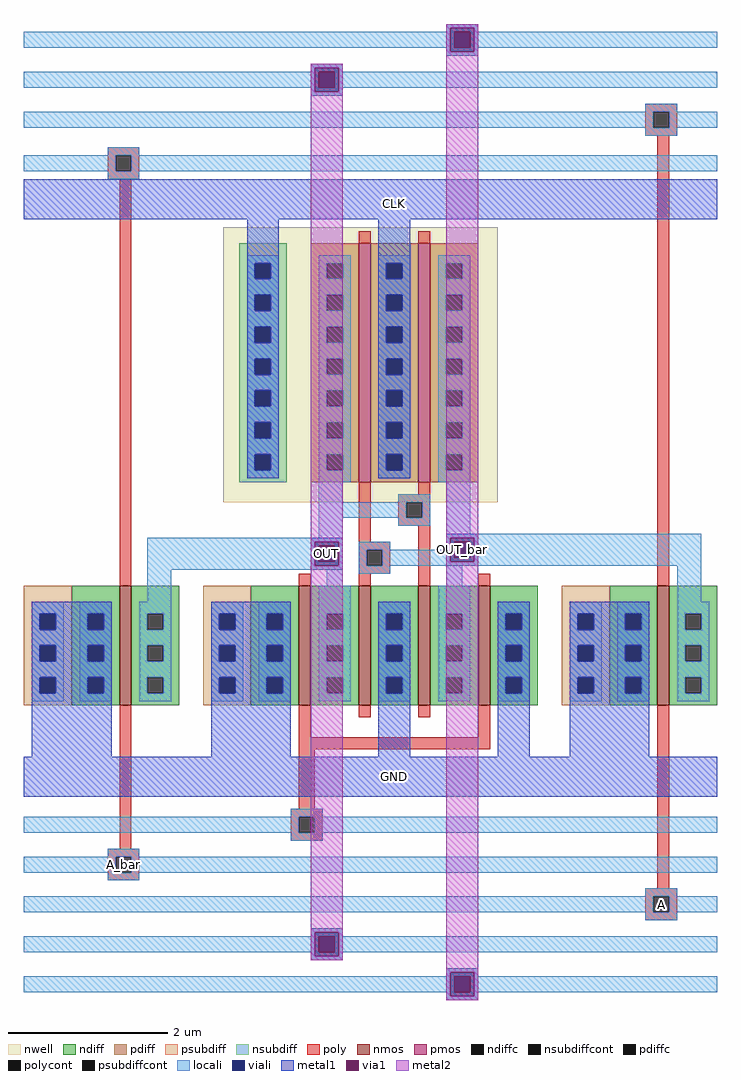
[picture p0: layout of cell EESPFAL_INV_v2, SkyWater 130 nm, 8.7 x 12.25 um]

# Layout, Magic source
magic
tech sky130A
<< nwell >>
rect -370 185 -25 530
<< nmos >>
rect -500 -70 -485 80
rect -275 -70 -260 80
rect -200 -70 -185 80
rect -125 -70 -110 80
rect -50 -70 -35 80
rect 175 -70 190 80
<< pmos >>
rect -200 210 -185 510
rect -125 210 -110 510
<< ndiff >>
rect -560 45 -500 80
rect -560 25 -540 45
rect -520 25 -500 45
rect -560 5 -500 25
rect -560 -15 -540 5
rect -520 -15 -500 5
rect -560 -35 -500 -15
rect -560 -55 -540 -35
rect -520 -55 -500 -35
rect -560 -70 -500 -55
rect -485 45 -425 80
rect -485 25 -465 45
rect -445 25 -425 45
rect -485 5 -425 25
rect -485 -15 -465 5
rect -445 -15 -425 5
rect -485 -35 -425 -15
rect -485 -55 -465 -35
rect -445 -55 -425 -35
rect -485 -70 -425 -55
rect -335 45 -275 80
rect -335 25 -315 45
rect -295 25 -275 45
rect -335 5 -275 25
rect -335 -15 -315 5
rect -295 -15 -275 5
rect -335 -35 -275 -15
rect -335 -55 -315 -35
rect -295 -55 -275 -35
rect -335 -70 -275 -55
rect -260 45 -200 80
rect -260 25 -240 45
rect -220 25 -200 45
rect -260 5 -200 25
rect -260 -15 -240 5
rect -220 -15 -200 5
rect -260 -35 -200 -15
rect -260 -55 -240 -35
rect -220 -55 -200 -35
rect -260 -70 -200 -55
rect -185 45 -125 80
rect -185 25 -165 45
rect -145 25 -125 45
rect -185 5 -125 25
rect -185 -15 -165 5
rect -145 -15 -125 5
rect -185 -35 -125 -15
rect -185 -55 -165 -35
rect -145 -55 -125 -35
rect -185 -70 -125 -55
rect -110 45 -50 80
rect -110 25 -90 45
rect -70 25 -50 45
rect -110 5 -50 25
rect -110 -15 -90 5
rect -70 -15 -50 5
rect -110 -35 -50 -15
rect -110 -55 -90 -35
rect -70 -55 -50 -35
rect -110 -70 -50 -55
rect -35 45 25 80
rect -35 25 -15 45
rect 5 25 25 45
rect -35 5 25 25
rect -35 -15 -15 5
rect 5 -15 25 5
rect -35 -35 25 -15
rect -35 -55 -15 -35
rect 5 -55 25 -35
rect -35 -70 25 -55
rect 115 45 175 80
rect 115 25 135 45
rect 155 25 175 45
rect 115 5 175 25
rect 115 -15 135 5
rect 155 -15 175 5
rect 115 -35 175 -15
rect 115 -55 135 -35
rect 155 -55 175 -35
rect 115 -70 175 -55
rect 190 45 250 80
rect 190 25 210 45
rect 230 25 250 45
rect 190 5 250 25
rect 190 -15 210 5
rect 230 -15 250 5
rect 190 -35 250 -15
rect 190 -55 210 -35
rect 230 -55 250 -35
rect 190 -70 250 -55
<< pdiff >>
rect -260 485 -200 510
rect -260 465 -240 485
rect -220 465 -200 485
rect -260 445 -200 465
rect -260 425 -240 445
rect -220 425 -200 445
rect -260 405 -200 425
rect -260 385 -240 405
rect -220 385 -200 405
rect -260 365 -200 385
rect -260 345 -240 365
rect -220 345 -200 365
rect -260 325 -200 345
rect -260 305 -240 325
rect -220 305 -200 325
rect -260 285 -200 305
rect -260 265 -240 285
rect -220 265 -200 285
rect -260 245 -200 265
rect -260 225 -240 245
rect -220 225 -200 245
rect -260 210 -200 225
rect -185 485 -125 510
rect -185 465 -165 485
rect -145 465 -125 485
rect -185 445 -125 465
rect -185 425 -165 445
rect -145 425 -125 445
rect -185 405 -125 425
rect -185 385 -165 405
rect -145 385 -125 405
rect -185 365 -125 385
rect -185 345 -165 365
rect -145 345 -125 365
rect -185 325 -125 345
rect -185 305 -165 325
rect -145 305 -125 325
rect -185 285 -125 305
rect -185 265 -165 285
rect -145 265 -125 285
rect -185 245 -125 265
rect -185 225 -165 245
rect -145 225 -125 245
rect -185 210 -125 225
rect -110 485 -50 510
rect -110 465 -90 485
rect -70 465 -50 485
rect -110 445 -50 465
rect -110 425 -90 445
rect -70 425 -50 445
rect -110 405 -50 425
rect -110 385 -90 405
rect -70 385 -50 405
rect -110 365 -50 385
rect -110 345 -90 365
rect -70 345 -50 365
rect -110 325 -50 345
rect -110 305 -90 325
rect -70 305 -50 325
rect -110 285 -50 305
rect -110 265 -90 285
rect -70 265 -50 285
rect -110 245 -50 265
rect -110 225 -90 245
rect -70 225 -50 245
rect -110 210 -50 225
<< ndiffc >>
rect -540 25 -520 45
rect -540 -15 -520 5
rect -540 -55 -520 -35
rect -465 25 -445 45
rect -465 -15 -445 5
rect -465 -55 -445 -35
rect -315 25 -295 45
rect -315 -15 -295 5
rect -315 -55 -295 -35
rect -240 25 -220 45
rect -240 -15 -220 5
rect -240 -55 -220 -35
rect -165 25 -145 45
rect -165 -15 -145 5
rect -165 -55 -145 -35
rect -90 25 -70 45
rect -90 -15 -70 5
rect -90 -55 -70 -35
rect -15 25 5 45
rect -15 -15 5 5
rect -15 -55 5 -35
rect 135 25 155 45
rect 135 -15 155 5
rect 135 -55 155 -35
rect 210 25 230 45
rect 210 -15 230 5
rect 210 -55 230 -35
<< pdiffc >>
rect -240 465 -220 485
rect -240 425 -220 445
rect -240 385 -220 405
rect -240 345 -220 365
rect -240 305 -220 325
rect -240 265 -220 285
rect -240 225 -220 245
rect -165 465 -145 485
rect -165 425 -145 445
rect -165 385 -145 405
rect -165 345 -145 365
rect -165 305 -145 325
rect -165 265 -145 285
rect -165 225 -145 245
rect -90 465 -70 485
rect -90 425 -70 445
rect -90 385 -70 405
rect -90 345 -70 365
rect -90 305 -70 325
rect -90 265 -70 285
rect -90 225 -70 245
<< psubdiff >>
rect -620 45 -560 80
rect -620 25 -600 45
rect -580 25 -560 45
rect -620 5 -560 25
rect -620 -15 -600 5
rect -580 -15 -560 5
rect -620 -35 -560 -15
rect -620 -55 -600 -35
rect -580 -55 -560 -35
rect -620 -70 -560 -55
rect -395 45 -335 80
rect -395 25 -375 45
rect -355 25 -335 45
rect -395 5 -335 25
rect -395 -15 -375 5
rect -355 -15 -335 5
rect -395 -35 -335 -15
rect -395 -55 -375 -35
rect -355 -55 -335 -35
rect -395 -70 -335 -55
rect 55 45 115 80
rect 55 25 75 45
rect 95 25 115 45
rect 55 5 115 25
rect 55 -15 75 5
rect 95 -15 115 5
rect 55 -35 115 -15
rect 55 -55 75 -35
rect 95 -55 115 -35
rect 55 -70 115 -55
<< nsubdiff >>
rect -350 485 -290 510
rect -350 465 -330 485
rect -310 465 -290 485
rect -350 445 -290 465
rect -350 425 -330 445
rect -310 425 -290 445
rect -350 405 -290 425
rect -350 385 -330 405
rect -310 385 -290 405
rect -350 365 -290 385
rect -350 345 -330 365
rect -310 345 -290 365
rect -350 325 -290 345
rect -350 305 -330 325
rect -310 305 -290 325
rect -350 285 -290 305
rect -350 265 -330 285
rect -310 265 -290 285
rect -350 245 -290 265
rect -350 225 -330 245
rect -310 225 -290 245
rect -350 210 -290 225
<< psubdiffcont >>
rect -600 25 -580 45
rect -600 -15 -580 5
rect -600 -55 -580 -35
rect -375 25 -355 45
rect -375 -15 -355 5
rect -375 -55 -355 -35
rect 75 25 95 45
rect 75 -15 95 5
rect 75 -55 95 -35
<< nsubdiffcont >>
rect -330 465 -310 485
rect -330 425 -310 445
rect -330 385 -310 405
rect -330 345 -310 365
rect -330 305 -310 325
rect -330 265 -310 285
rect -330 225 -310 245
<< poly >>
rect 160 675 200 685
rect 160 655 170 675
rect 190 655 200 675
rect 160 645 200 655
rect -515 620 -475 630
rect -515 600 -505 620
rect -485 600 -475 620
rect -515 590 -475 600
rect -500 80 -485 590
rect -200 510 -185 525
rect -125 510 -110 525
rect -200 135 -185 210
rect -125 195 -110 210
rect -150 185 -110 195
rect -150 165 -140 185
rect -120 165 -110 185
rect -150 155 -110 165
rect -200 125 -160 135
rect -200 105 -190 125
rect -170 105 -160 125
rect -200 95 -160 105
rect -275 80 -260 95
rect -200 80 -185 95
rect -125 80 -110 155
rect -50 80 -35 95
rect 175 80 190 645
rect -500 -250 -485 -70
rect -275 -110 -260 -70
rect -200 -85 -185 -70
rect -125 -85 -110 -70
rect -50 -110 -35 -70
rect -275 -125 -35 -110
rect -275 -200 -255 -125
rect -285 -210 -245 -200
rect -285 -230 -275 -210
rect -255 -230 -245 -210
rect -285 -240 -245 -230
rect -515 -260 -475 -250
rect -515 -280 -505 -260
rect -485 -280 -475 -260
rect -515 -290 -475 -280
rect 175 -300 190 -70
rect 160 -310 200 -300
rect 160 -330 170 -310
rect 190 -330 200 -310
rect 160 -340 200 -330
<< polycont >>
rect 170 655 190 675
rect -505 600 -485 620
rect -140 165 -120 185
rect -190 105 -170 125
rect -275 -230 -255 -210
rect -505 -280 -485 -260
rect 170 -330 190 -310
<< locali >>
rect -90 775 -50 785
rect -620 755 -80 775
rect -60 755 250 775
rect -90 745 -50 755
rect -260 725 -220 735
rect -620 705 -250 725
rect -230 705 250 725
rect -260 695 -220 705
rect 160 675 200 685
rect -620 655 170 675
rect 190 655 250 675
rect 160 645 200 655
rect -515 620 -475 630
rect -620 600 -505 620
rect -485 600 250 620
rect -515 590 -475 600
rect -340 485 -300 495
rect -340 465 -330 485
rect -310 465 -300 485
rect -340 445 -300 465
rect -340 425 -330 445
rect -310 425 -300 445
rect -340 405 -300 425
rect -340 385 -330 405
rect -310 385 -300 405
rect -340 365 -300 385
rect -340 345 -330 365
rect -310 345 -300 365
rect -340 325 -300 345
rect -340 305 -330 325
rect -310 305 -300 325
rect -340 285 -300 305
rect -340 265 -330 285
rect -310 265 -300 285
rect -340 245 -300 265
rect -340 225 -330 245
rect -310 225 -300 245
rect -340 215 -300 225
rect -250 485 -210 495
rect -250 465 -240 485
rect -220 465 -210 485
rect -250 445 -210 465
rect -250 425 -240 445
rect -220 425 -210 445
rect -250 405 -210 425
rect -250 385 -240 405
rect -220 385 -210 405
rect -250 365 -210 385
rect -250 345 -240 365
rect -220 345 -210 365
rect -250 325 -210 345
rect -250 305 -240 325
rect -220 305 -210 325
rect -250 285 -210 305
rect -250 265 -240 285
rect -220 265 -210 285
rect -250 245 -210 265
rect -250 225 -240 245
rect -220 225 -210 245
rect -250 210 -210 225
rect -175 485 -135 495
rect -175 465 -165 485
rect -145 465 -135 485
rect -175 445 -135 465
rect -175 425 -165 445
rect -145 425 -135 445
rect -175 405 -135 425
rect -175 385 -165 405
rect -145 385 -135 405
rect -175 365 -135 385
rect -175 345 -165 365
rect -145 345 -135 365
rect -175 325 -135 345
rect -175 305 -165 325
rect -145 305 -135 325
rect -175 285 -135 305
rect -175 265 -165 285
rect -145 265 -135 285
rect -175 245 -135 265
rect -175 225 -165 245
rect -145 225 -135 245
rect -175 215 -135 225
rect -100 485 -60 495
rect -100 465 -90 485
rect -70 465 -60 485
rect -100 445 -60 465
rect -100 425 -90 445
rect -70 425 -60 445
rect -100 405 -60 425
rect -100 385 -90 405
rect -70 385 -60 405
rect -100 365 -60 385
rect -100 345 -90 365
rect -70 345 -60 365
rect -100 325 -60 345
rect -100 305 -90 325
rect -70 305 -60 325
rect -100 285 -60 305
rect -100 265 -90 285
rect -70 265 -60 285
rect -100 245 -60 265
rect -100 225 -90 245
rect -70 225 -60 245
rect -100 210 -60 225
rect -250 185 -220 210
rect -150 185 -110 195
rect -250 165 -140 185
rect -120 165 -110 185
rect -250 140 -220 165
rect -150 155 -110 165
rect -465 130 -220 140
rect -90 145 -60 210
rect -90 135 230 145
rect -465 110 -250 130
rect -230 110 -220 130
rect -465 100 -220 110
rect -465 60 -435 100
rect -240 80 -220 100
rect -200 125 -160 135
rect -90 125 -80 135
rect -200 105 -190 125
rect -170 115 -80 125
rect -60 115 230 135
rect -170 105 230 115
rect -200 95 -160 105
rect -90 80 -70 105
rect -610 45 -570 60
rect -610 25 -600 45
rect -580 25 -570 45
rect -610 5 -570 25
rect -610 -15 -600 5
rect -580 -15 -570 5
rect -610 -35 -570 -15
rect -610 -55 -600 -35
rect -580 -55 -570 -35
rect -610 -65 -570 -55
rect -550 45 -510 60
rect -550 25 -540 45
rect -520 25 -510 45
rect -550 5 -510 25
rect -550 -15 -540 5
rect -520 -15 -510 5
rect -550 -35 -510 -15
rect -550 -55 -540 -35
rect -520 -55 -510 -35
rect -550 -65 -510 -55
rect -475 45 -435 60
rect -475 25 -465 45
rect -445 25 -435 45
rect -475 5 -435 25
rect -475 -15 -465 5
rect -445 -15 -435 5
rect -475 -35 -435 -15
rect -475 -55 -465 -35
rect -445 -55 -435 -35
rect -475 -65 -435 -55
rect -385 45 -345 60
rect -385 25 -375 45
rect -355 25 -345 45
rect -385 5 -345 25
rect -385 -15 -375 5
rect -355 -15 -345 5
rect -385 -35 -345 -15
rect -385 -55 -375 -35
rect -355 -55 -345 -35
rect -385 -65 -345 -55
rect -325 45 -285 60
rect -325 25 -315 45
rect -295 25 -285 45
rect -325 5 -285 25
rect -325 -15 -315 5
rect -295 -15 -285 5
rect -325 -35 -285 -15
rect -325 -55 -315 -35
rect -295 -55 -285 -35
rect -325 -65 -285 -55
rect -250 45 -210 80
rect -250 25 -240 45
rect -220 25 -210 45
rect -250 5 -210 25
rect -250 -15 -240 5
rect -220 -15 -210 5
rect -250 -35 -210 -15
rect -250 -55 -240 -35
rect -220 -55 -210 -35
rect -250 -65 -210 -55
rect -175 45 -135 60
rect -175 25 -165 45
rect -145 25 -135 45
rect -175 5 -135 25
rect -175 -15 -165 5
rect -145 -15 -135 5
rect -175 -35 -135 -15
rect -175 -55 -165 -35
rect -145 -55 -135 -35
rect -175 -65 -135 -55
rect -100 45 -60 80
rect 200 60 230 105
rect -100 25 -90 45
rect -70 25 -60 45
rect -100 5 -60 25
rect -100 -15 -90 5
rect -70 -15 -60 5
rect -100 -35 -60 -15
rect -100 -55 -90 -35
rect -70 -55 -60 -35
rect -100 -65 -60 -55
rect -25 45 15 60
rect -25 25 -15 45
rect 5 25 15 45
rect -25 5 15 25
rect -25 -15 -15 5
rect 5 -15 15 5
rect -25 -35 15 -15
rect -25 -55 -15 -35
rect 5 -55 15 -35
rect -25 -65 15 -55
rect 65 45 105 60
rect 65 25 75 45
rect 95 25 105 45
rect 65 5 105 25
rect 65 -15 75 5
rect 95 -15 105 5
rect 65 -35 105 -15
rect 65 -55 75 -35
rect 95 -55 105 -35
rect 65 -65 105 -55
rect 125 45 165 60
rect 125 25 135 45
rect 155 25 165 45
rect 125 5 165 25
rect 125 -15 135 5
rect 155 -15 165 5
rect 125 -35 165 -15
rect 125 -55 135 -35
rect 155 -55 165 -35
rect 125 -65 165 -55
rect 200 45 240 60
rect 200 25 210 45
rect 230 25 240 45
rect 200 5 240 25
rect 200 -15 210 5
rect 230 -15 240 5
rect 200 -35 240 -15
rect 200 -55 210 -35
rect 230 -55 240 -35
rect 200 -65 240 -55
rect -285 -210 -245 -200
rect -620 -230 -275 -210
rect -255 -230 250 -210
rect -285 -240 -245 -230
rect -515 -260 -475 -250
rect -620 -280 -505 -260
rect -485 -280 250 -260
rect -515 -290 -475 -280
rect 160 -310 200 -300
rect -620 -330 170 -310
rect 190 -330 250 -310
rect 160 -340 200 -330
rect -260 -360 -220 -350
rect -620 -380 -250 -360
rect -230 -380 250 -360
rect -260 -390 -220 -380
rect -90 -410 -50 -400
rect -620 -430 -80 -410
rect -60 -430 250 -410
rect -90 -440 -50 -430
<< viali >>
rect -80 755 -60 775
rect -250 705 -230 725
rect -330 465 -310 485
rect -330 425 -310 445
rect -330 385 -310 405
rect -330 345 -310 365
rect -330 305 -310 325
rect -330 265 -310 285
rect -330 225 -310 245
rect -165 465 -145 485
rect -165 425 -145 445
rect -165 385 -145 405
rect -165 345 -145 365
rect -165 305 -145 325
rect -165 265 -145 285
rect -165 225 -145 245
rect -250 110 -230 130
rect -80 115 -60 135
rect -600 25 -580 45
rect -600 -15 -580 5
rect -600 -55 -580 -35
rect -540 25 -520 45
rect -540 -15 -520 5
rect -540 -55 -520 -35
rect -375 25 -355 45
rect -375 -15 -355 5
rect -375 -55 -355 -35
rect -315 25 -295 45
rect -315 -15 -295 5
rect -315 -55 -295 -35
rect -165 25 -145 45
rect -165 -15 -145 5
rect -165 -55 -145 -35
rect -15 25 5 45
rect -15 -15 5 5
rect -15 -55 5 -35
rect 75 25 95 45
rect 75 -15 95 5
rect 75 -55 95 -35
rect 135 25 155 45
rect 135 -15 155 5
rect 135 -55 155 -35
rect -250 -380 -230 -360
rect -80 -430 -60 -410
<< metal1 >>
rect -90 780 -50 785
rect -90 750 -85 780
rect -55 750 -50 780
rect -90 745 -50 750
rect -260 730 -220 735
rect -260 700 -255 730
rect -225 700 -220 730
rect -260 695 -220 700
rect -620 540 250 590
rect -340 485 -300 540
rect -340 465 -330 485
rect -310 465 -300 485
rect -340 445 -300 465
rect -340 425 -330 445
rect -310 425 -300 445
rect -340 405 -300 425
rect -340 385 -330 405
rect -310 385 -300 405
rect -340 365 -300 385
rect -340 345 -330 365
rect -310 345 -300 365
rect -340 325 -300 345
rect -340 305 -330 325
rect -310 305 -300 325
rect -340 285 -300 305
rect -340 265 -330 285
rect -310 265 -300 285
rect -340 245 -300 265
rect -340 225 -330 245
rect -310 225 -300 245
rect -340 215 -300 225
rect -175 485 -135 540
rect -175 465 -165 485
rect -145 465 -135 485
rect -175 445 -135 465
rect -175 425 -165 445
rect -145 425 -135 445
rect -175 405 -135 425
rect -175 385 -165 405
rect -145 385 -135 405
rect -175 365 -135 385
rect -175 345 -165 365
rect -145 345 -135 365
rect -175 325 -135 345
rect -175 305 -165 325
rect -145 305 -135 325
rect -175 285 -135 305
rect -175 265 -165 285
rect -145 265 -135 285
rect -175 245 -135 265
rect -175 225 -165 245
rect -145 225 -135 245
rect -175 215 -135 225
rect -90 140 -50 145
rect -260 135 -220 140
rect -260 105 -255 135
rect -225 105 -220 135
rect -90 110 -85 140
rect -55 110 -50 140
rect -90 105 -50 110
rect -260 100 -220 105
rect -610 45 -510 60
rect -610 25 -600 45
rect -580 25 -540 45
rect -520 25 -510 45
rect -610 5 -510 25
rect -610 -15 -600 5
rect -580 -15 -540 5
rect -520 -15 -510 5
rect -610 -35 -510 -15
rect -610 -55 -600 -35
rect -580 -55 -540 -35
rect -520 -55 -510 -35
rect -610 -135 -510 -55
rect -385 45 -285 60
rect -385 25 -375 45
rect -355 25 -315 45
rect -295 25 -285 45
rect -385 5 -285 25
rect -385 -15 -375 5
rect -355 -15 -315 5
rect -295 -15 -285 5
rect -385 -35 -285 -15
rect -385 -55 -375 -35
rect -355 -55 -315 -35
rect -295 -55 -285 -35
rect -385 -135 -285 -55
rect -175 45 -135 60
rect -175 25 -165 45
rect -145 25 -135 45
rect -175 5 -135 25
rect -175 -15 -165 5
rect -145 -15 -135 5
rect -175 -35 -135 -15
rect -175 -55 -165 -35
rect -145 -55 -135 -35
rect -175 -135 -135 -55
rect -25 45 15 60
rect -25 25 -15 45
rect 5 25 15 45
rect -25 5 15 25
rect -25 -15 -15 5
rect 5 -15 15 5
rect -25 -35 15 -15
rect -25 -55 -15 -35
rect 5 -55 15 -35
rect -25 -135 15 -55
rect 65 45 165 60
rect 65 25 75 45
rect 95 25 135 45
rect 155 25 165 45
rect 65 5 165 25
rect 65 -15 75 5
rect 95 -15 135 5
rect 155 -15 165 5
rect 65 -35 165 -15
rect 65 -55 75 -35
rect 95 -55 135 -35
rect 155 -55 165 -35
rect 65 -135 165 -55
rect -620 -185 250 -135
rect -260 -355 -220 -350
rect -260 -385 -255 -355
rect -225 -385 -220 -355
rect -260 -390 -220 -385
rect -90 -405 -50 -400
rect -90 -435 -85 -405
rect -55 -435 -50 -405
rect -90 -440 -50 -435
<< via1 >>
rect -85 775 -55 780
rect -85 755 -80 775
rect -80 755 -60 775
rect -60 755 -55 775
rect -85 750 -55 755
rect -255 725 -225 730
rect -255 705 -250 725
rect -250 705 -230 725
rect -230 705 -225 725
rect -255 700 -225 705
rect -255 130 -225 135
rect -255 110 -250 130
rect -250 110 -230 130
rect -230 110 -225 130
rect -255 105 -225 110
rect -85 135 -55 140
rect -85 115 -80 135
rect -80 115 -60 135
rect -60 115 -55 135
rect -85 110 -55 115
rect -255 -360 -225 -355
rect -255 -380 -250 -360
rect -250 -380 -230 -360
rect -230 -380 -225 -360
rect -255 -385 -225 -380
rect -85 -410 -55 -405
rect -85 -430 -80 -410
rect -80 -430 -60 -410
rect -60 -430 -55 -410
rect -85 -435 -55 -430
<< metal2 >>
rect -90 780 -50 785
rect -90 750 -85 780
rect -55 750 -50 780
rect -260 730 -220 735
rect -260 700 -255 730
rect -225 700 -220 730
rect -260 135 -220 700
rect -260 105 -255 135
rect -225 105 -220 135
rect -260 -355 -220 105
rect -260 -385 -255 -355
rect -225 -385 -220 -355
rect -260 -390 -220 -385
rect -90 140 -50 750
rect -90 110 -85 140
rect -55 110 -50 140
rect -90 -405 -50 110
rect -90 -435 -85 -405
rect -55 -435 -50 -405
rect -90 -440 -50 -435
<< labels >>
rlabel metal1 -165 -170 -145 -150 7 GND
rlabel metal1 -165 550 -145 570 7 CLK
rlabel metal2 -250 110 -230 130 7 OUT
rlabel metal2 -80 115 -60 135 7 OUT_bar
rlabel locali -505 -280 -485 -260 7 A_bar
rlabel locali 170 -330 190 -310 7 A
<< end >>
